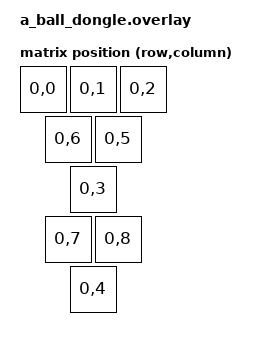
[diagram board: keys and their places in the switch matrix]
#include <dt-bindings/zmk/matrix_transform.h>

/ {
    chosen {
        zmk,kscan = &mock_kscan;
	zmk,physical-layout = &physical_layout0;
    };

    mock_kscan: mock_kscan_0 {
        compatible = "zmk,kscan-mock";
        columns = <0>;
        rows = <0>;
        events = <0>;
    };

    default_transform: keymap_transform_0 {
        compatible = "zmk,matrix-transform";
        columns = <3>;
        rows = <3>;
        map = <
	               RC(0,0) RC(0,1) RC(0,2) 
                   RC(0,6)                 RC(0,5) 

                                               RC(0,3) 

                              RC(0,7)RC(0,8)   

					       RC(0,4)       
        >;
    };
};



/ {
    physical_layout0: physical_layout_0 {
        compatible = "zmk,physical-layout";
        display-name = "Default Layout";
        transform = <&default_transform>;
    };
};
